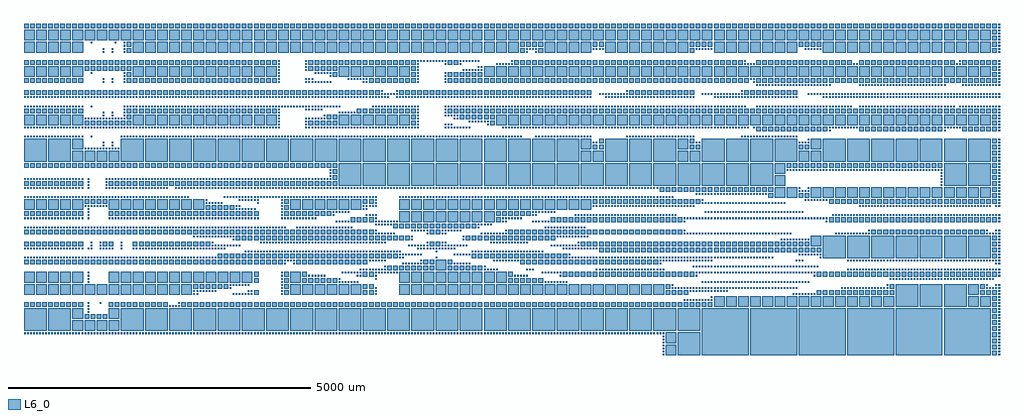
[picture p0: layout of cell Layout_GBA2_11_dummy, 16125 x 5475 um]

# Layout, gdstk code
import gdstk
lib = gdstk.Library(unit=1e-6, precision=1e-09)
def R(c, l, rs):  # rectangles x0, y0, x1, y1
    for r in rs: c.add(gdstk.rectangle(r[:2], r[2:], *l))
def A(c, l, x, y, w, h, nx, ny, dx, dy):  # array of equal rectangles
    R(c, l, [(x+i*dx, y+j*dy, x+i*dx+w, y+j*dy+h) for i in range(nx) for j in range(ny)])
L6_0 = (6, 0)

layout_gba2_11_dummy = lib.new_cell('Layout_GBA2_11_dummy')
A(layout_gba2_11_dummy, L6_0, 10550, 0, 25, 25, 1, 7, 0, 50)
A(layout_gba2_11_dummy, L6_0, 11200, 0, 775, 775, 6, 1, 800, 0)
A(layout_gba2_11_dummy, L6_0, 16000, 0, 75, 75, 1, 10, 0, 100)
A(layout_gba2_11_dummy, L6_0, 16100, 0, 25, 25, 1, 22, 0, 50)
A(layout_gba2_11_dummy, L6_0, 0, 350, 25, 25, 212, 1, 50, 0)
A(layout_gba2_11_dummy, L6_0, 800, 400, 175, 175, 4, 2, 200, 2800)
A(layout_gba2_11_dummy, L6_0, 1600, 400, 375, 375, 24, 1, 400, 0)
A(layout_gba2_11_dummy, L6_0, 1000, 600, 75, 75, 4, 2, 100, 1900)
A(layout_gba2_11_dummy, L6_0, 1050, 700, 25, 25, 1, 4, 0, 50)
A(layout_gba2_11_dummy, L6_0, 0, 800, 75, 75, 10, 2, 100, 1000)
A(layout_gba2_11_dummy, L6_0, 1400, 800, 75, 75, 10, 1, 100, 0)
A(layout_gba2_11_dummy, L6_0, 2400, 800, 25, 25, 4, 1, 50, 0)
A(layout_gba2_11_dummy, L6_0, 2600, 800, 75, 75, 88, 1, 100, 0)
A(layout_gba2_11_dummy, L6_0, 11400, 800, 175, 175, 15, 1, 200, 0)
A(layout_gba2_11_dummy, L6_0, 14400, 800, 375, 375, 3, 1, 400, 0)
A(layout_gba2_11_dummy, L6_0, 10900, 900, 25, 25, 10, 1, 50, 0)
A(layout_gba2_11_dummy, L6_0, 0, 1000, 175, 175, 14, 1, 200, 0)
A(layout_gba2_11_dummy, L6_0, 3450, 1000, 25, 25, 7, 1, 50, 0)
A(layout_gba2_11_dummy, L6_0, 4250, 1000, 25, 25, 1, 8, 0, 50)
A(layout_gba2_11_dummy, L6_0, 4300, 1000, 75, 75, 1, 4, 0, 100)
A(layout_gba2_11_dummy, L6_0, 4400, 1000, 175, 175, 6, 2, 200, 1400)
A(layout_gba2_11_dummy, L6_0, 5800, 1000, 25, 25, 1, 3, 0, 50)
A(layout_gba2_11_dummy, L6_0, 6200, 1000, 175, 175, 22, 1, 200, 0)
A(layout_gba2_11_dummy, L6_0, 10600, 1000, 75, 75, 4, 1, 100, 0)
A(layout_gba2_11_dummy, L6_0, 12700, 1000, 25, 25, 8, 1, 50, 0)
A(layout_gba2_11_dummy, L6_0, 13100, 1000, 75, 75, 13, 1, 100, 0)
A(layout_gba2_11_dummy, L6_0, 15800, 1000, 75, 75, 3, 1, 100, 0)
A(layout_gba2_11_dummy, L6_0, 2800, 1050, 25, 25, 8, 1, 50, 0)
A(layout_gba2_11_dummy, L6_0, 11000, 1050, 25, 25, 13, 1, 50, 0)
A(layout_gba2_11_dummy, L6_0, 2800, 1100, 75, 75, 6, 1, 100, 0)
A(layout_gba2_11_dummy, L6_0, 10700, 1100, 25, 25, 42, 1, 50, 0)
A(layout_gba2_11_dummy, L6_0, 13500, 1100, 25, 25, 16, 1, 50, 0)
A(layout_gba2_11_dummy, L6_0, 15900, 1100, 25, 25, 5, 2, 50, 900)
A(layout_gba2_11_dummy, L6_0, 3400, 1150, 25, 25, 7, 1, 50, 0)
A(layout_gba2_11_dummy, L6_0, 0, 1200, 175, 175, 5, 2, 200, 1200)
A(layout_gba2_11_dummy, L6_0, 1050, 1200, 25, 25, 1, 4, 0, 50)
A(layout_gba2_11_dummy, L6_0, 1400, 1200, 175, 175, 12, 1, 200, 0)
A(layout_gba2_11_dummy, L6_0, 4600, 1200, 75, 75, 6, 1, 100, 0)
A(layout_gba2_11_dummy, L6_0, 5200, 1200, 25, 25, 7, 1, 50, 0)
A(layout_gba2_11_dummy, L6_0, 6200, 1200, 175, 175, 9, 1, 200, 0)
A(layout_gba2_11_dummy, L6_0, 8000, 1200, 75, 75, 6, 1, 100, 0)
A(layout_gba2_11_dummy, L6_0, 8600, 1200, 25, 25, 8, 1, 50, 0)
A(layout_gba2_11_dummy, L6_0, 11200, 1200, 25, 25, 36, 1, 50, 0)
A(layout_gba2_11_dummy, L6_0, 14300, 1250, 25, 25, 35, 1, 50, 0)
A(layout_gba2_11_dummy, L6_0, 4700, 1300, 25, 25, 6, 1, 50, 0)
A(layout_gba2_11_dummy, L6_0, 8100, 1300, 25, 25, 5, 1, 50, 0)
A(layout_gba2_11_dummy, L6_0, 8900, 1300, 75, 75, 22, 1, 100, 0)
A(layout_gba2_11_dummy, L6_0, 13100, 1300, 75, 75, 30, 1, 100, 0)
A(layout_gba2_11_dummy, L6_0, 5250, 1350, 25, 25, 7, 1, 50, 0)
A(layout_gba2_11_dummy, L6_0, 5800, 1350, 25, 25, 8, 2, 50, 850)
A(layout_gba2_11_dummy, L6_0, 8550, 1350, 25, 25, 7, 1, 50, 0)
A(layout_gba2_11_dummy, L6_0, 11100, 1350, 25, 25, 40, 1, 50, 0)
A(layout_gba2_11_dummy, L6_0, 5550, 1400, 25, 25, 9, 1, 50, 0)
A(layout_gba2_11_dummy, L6_0, 6000, 1400, 75, 75, 8, 1, 100, 0)
A(layout_gba2_11_dummy, L6_0, 7000, 1400, 75, 75, 6, 2, 100, 3200)
A(layout_gba2_11_dummy, L6_0, 7600, 1400, 25, 25, 5, 1, 50, 0)
A(layout_gba2_11_dummy, L6_0, 8300, 1400, 25, 25, 3, 1, 50, 0)
A(layout_gba2_11_dummy, L6_0, 9450, 1400, 25, 25, 23, 1, 50, 0)
A(layout_gba2_11_dummy, L6_0, 13600, 1400, 25, 25, 51, 2, 50, 150)
A(layout_gba2_11_dummy, L6_0, 11050, 1450, 25, 25, 42, 1, 50, 0)
A(layout_gba2_11_dummy, L6_0, 0, 1500, 75, 75, 43, 1, 100, 0)
A(layout_gba2_11_dummy, L6_0, 4500, 1500, 75, 75, 12, 1, 100, 0)
A(layout_gba2_11_dummy, L6_0, 6250, 1500, 25, 25, 7, 1, 50, 0)
A(layout_gba2_11_dummy, L6_0, 7100, 1500, 25, 25, 6, 2, 50, 150)
A(layout_gba2_11_dummy, L6_0, 8200, 1500, 75, 75, 23, 1, 100, 0)
A(layout_gba2_11_dummy, L6_0, 4300, 1550, 25, 25, 4, 1, 50, 0)
A(layout_gba2_11_dummy, L6_0, 5700, 1550, 25, 25, 6, 1, 50, 0)
A(layout_gba2_11_dummy, L6_0, 7750, 1550, 25, 25, 9, 1, 50, 0)
A(layout_gba2_11_dummy, L6_0, 10500, 1550, 25, 25, 18, 1, 50, 0)
A(layout_gba2_11_dummy, L6_0, 12750, 1550, 25, 25, 3, 1, 50, 0)
A(layout_gba2_11_dummy, L6_0, 0, 1600, 25, 25, 64, 1, 50, 0)
A(layout_gba2_11_dummy, L6_0, 3200, 1600, 75, 75, 30, 1, 100, 0)
A(layout_gba2_11_dummy, L6_0, 7400, 1600, 75, 75, 16, 1, 100, 0)
A(layout_gba2_11_dummy, L6_0, 9000, 1600, 25, 25, 68, 1, 50, 0)
A(layout_gba2_11_dummy, L6_0, 13200, 1600, 375, 375, 7, 2, 400, 1600)
A(layout_gba2_11_dummy, L6_0, 16000, 1600, 75, 75, 1, 4, 0, 100)
A(layout_gba2_11_dummy, L6_0, 16100, 1600, 25, 25, 1, 8, 0, 50)
A(layout_gba2_11_dummy, L6_0, 6200, 1650, 25, 25, 8, 1, 50, 0)
A(layout_gba2_11_dummy, L6_0, 12800, 1650, 25, 25, 8, 1, 50, 0)
A(layout_gba2_11_dummy, L6_0, 3650, 1700, 25, 25, 52, 1, 50, 0)
A(layout_gba2_11_dummy, L6_0, 7400, 1700, 25, 25, 24, 1, 50, 0)
A(layout_gba2_11_dummy, L6_0, 9500, 1700, 75, 75, 37, 1, 100, 0)
A(layout_gba2_11_dummy, L6_0, 0, 1750, 25, 25, 20, 3, 50, 500)
A(layout_gba2_11_dummy, L6_0, 1100, 1750, 25, 25, 1, 3, 0, 50)
A(layout_gba2_11_dummy, L6_0, 1250, 1750, 25, 25, 5, 1, 50, 0)
A(layout_gba2_11_dummy, L6_0, 1600, 1750, 25, 25, 1, 3, 0, 50)
A(layout_gba2_11_dummy, L6_0, 1800, 1750, 25, 25, 31, 1, 50, 0)
A(layout_gba2_11_dummy, L6_0, 6500, 1750, 25, 25, 13, 1, 50, 0)
A(layout_gba2_11_dummy, L6_0, 8900, 1750, 25, 25, 12, 1, 50, 0)
A(layout_gba2_11_dummy, L6_0, 1800, 1800, 75, 75, 13, 1, 100, 0)
A(layout_gba2_11_dummy, L6_0, 3100, 1800, 25, 25, 10, 1, 50, 0)
A(layout_gba2_11_dummy, L6_0, 6350, 1800, 25, 25, 7, 1, 50, 0)
A(layout_gba2_11_dummy, L6_0, 6900, 1800, 25, 25, 9, 1, 50, 0)
A(layout_gba2_11_dummy, L6_0, 8700, 1800, 25, 25, 10, 1, 50, 0)
A(layout_gba2_11_dummy, L6_0, 9200, 1800, 75, 75, 38, 1, 100, 0)
A(layout_gba2_11_dummy, L6_0, 3900, 1850, 25, 25, 42, 1, 50, 0)
A(layout_gba2_11_dummy, L6_0, 7700, 1850, 25, 25, 13, 1, 50, 0)
A(layout_gba2_11_dummy, L6_0, 3500, 1900, 75, 75, 29, 1, 100, 0)
A(layout_gba2_11_dummy, L6_0, 7300, 1900, 75, 75, 15, 1, 100, 0)
A(layout_gba2_11_dummy, L6_0, 12500, 1900, 25, 25, 10, 1, 50, 0)
A(layout_gba2_11_dummy, L6_0, 2800, 1950, 25, 25, 14, 1, 50, 0)
A(layout_gba2_11_dummy, L6_0, 8800, 1950, 25, 25, 11, 1, 50, 0)
A(layout_gba2_11_dummy, L6_0, 0, 2000, 75, 75, 58, 1, 100, 0)
A(layout_gba2_11_dummy, L6_0, 5800, 2000, 25, 25, 7, 1, 50, 0)
A(layout_gba2_11_dummy, L6_0, 7550, 2000, 25, 25, 9, 1, 50, 0)
A(layout_gba2_11_dummy, L6_0, 8000, 2000, 75, 75, 29, 1, 100, 0)
A(layout_gba2_11_dummy, L6_0, 10900, 2000, 25, 25, 36, 1, 50, 0)
A(layout_gba2_11_dummy, L6_0, 13400, 2000, 25, 25, 12, 1, 50, 0)
A(layout_gba2_11_dummy, L6_0, 14000, 2000, 75, 75, 19, 1, 100, 0)
A(layout_gba2_11_dummy, L6_0, 6400, 2050, 25, 25, 6, 1, 50, 0)
A(layout_gba2_11_dummy, L6_0, 6900, 2050, 25, 25, 7, 1, 50, 0)
A(layout_gba2_11_dummy, L6_0, 0, 2100, 25, 25, 87, 1, 50, 0)
A(layout_gba2_11_dummy, L6_0, 4500, 2100, 25, 25, 19, 1, 50, 0)
A(layout_gba2_11_dummy, L6_0, 6100, 2100, 75, 75, 14, 1, 100, 0)
A(layout_gba2_11_dummy, L6_0, 8600, 2100, 25, 25, 14, 1, 50, 0)
A(layout_gba2_11_dummy, L6_0, 5800, 2150, 25, 25, 6, 1, 50, 0)
A(layout_gba2_11_dummy, L6_0, 7500, 2150, 25, 25, 5, 1, 50, 0)
A(layout_gba2_11_dummy, L6_0, 5150, 2200, 25, 25, 5, 1, 50, 0)
A(layout_gba2_11_dummy, L6_0, 5400, 2200, 75, 75, 4, 1, 100, 0)
A(layout_gba2_11_dummy, L6_0, 6200, 2200, 175, 175, 8, 1, 200, 0)
A(layout_gba2_11_dummy, L6_0, 8400, 2200, 25, 25, 6, 1, 50, 0)
A(layout_gba2_11_dummy, L6_0, 8700, 2200, 75, 75, 22, 1, 100, 0)
A(layout_gba2_11_dummy, L6_0, 13300, 2200, 75, 75, 28, 2, 100, 300)
A(layout_gba2_11_dummy, L6_0, 1050, 2250, 25, 25, 1, 4, 0, 50)
A(layout_gba2_11_dummy, L6_0, 1400, 2250, 25, 25, 50, 1, 50, 0)
A(layout_gba2_11_dummy, L6_0, 4250, 2250, 25, 25, 12, 1, 50, 0)
A(layout_gba2_11_dummy, L6_0, 7900, 2250, 25, 25, 7, 1, 50, 0)
A(layout_gba2_11_dummy, L6_0, 10900, 2250, 25, 25, 48, 1, 50, 0)
A(layout_gba2_11_dummy, L6_0, 0, 2300, 75, 75, 10, 2, 100, 500)
A(layout_gba2_11_dummy, L6_0, 1400, 2300, 75, 75, 25, 1, 100, 0)
A(layout_gba2_11_dummy, L6_0, 4250, 2300, 25, 25, 1, 6, 0, 50)
A(layout_gba2_11_dummy, L6_0, 4300, 2300, 75, 75, 8, 1, 100, 0)
A(layout_gba2_11_dummy, L6_0, 5650, 2300, 25, 25, 4, 1, 50, 0)
A(layout_gba2_11_dummy, L6_0, 7800, 2300, 75, 75, 6, 1, 100, 0)
A(layout_gba2_11_dummy, L6_0, 9100, 2300, 25, 25, 34, 1, 50, 0)
A(layout_gba2_11_dummy, L6_0, 13350, 2300, 25, 25, 56, 1, 50, 0)
A(layout_gba2_11_dummy, L6_0, 5100, 2350, 25, 25, 6, 1, 50, 0)
A(layout_gba2_11_dummy, L6_0, 8400, 2350, 25, 25, 8, 1, 50, 0)
A(layout_gba2_11_dummy, L6_0, 11250, 2350, 25, 25, 33, 1, 50, 0)
A(layout_gba2_11_dummy, L6_0, 1400, 2400, 175, 175, 8, 1, 200, 0)
A(layout_gba2_11_dummy, L6_0, 3000, 2400, 75, 75, 5, 1, 100, 0)
A(layout_gba2_11_dummy, L6_0, 3500, 2400, 25, 25, 7, 1, 50, 0)
A(layout_gba2_11_dummy, L6_0, 6200, 2400, 175, 175, 16, 1, 200, 0)
A(layout_gba2_11_dummy, L6_0, 1000, 2450, 25, 25, 8, 1, 50, 0)
A(layout_gba2_11_dummy, L6_0, 5600, 2450, 25, 25, 5, 1, 50, 0)
A(layout_gba2_11_dummy, L6_0, 9400, 2450, 25, 25, 34, 1, 50, 0)
A(layout_gba2_11_dummy, L6_0, 13800, 2450, 25, 25, 44, 1, 50, 0)
A(layout_gba2_11_dummy, L6_0, 16100, 2450, 25, 25, 1, 23, 0, 50)
A(layout_gba2_11_dummy, L6_0, 3000, 2500, 25, 25, 6, 1, 50, 0)
A(layout_gba2_11_dummy, L6_0, 9400, 2500, 75, 75, 18, 1, 100, 0)
A(layout_gba2_11_dummy, L6_0, 11200, 2500, 25, 25, 28, 1, 50, 0)
A(layout_gba2_11_dummy, L6_0, 3550, 2550, 25, 25, 7, 1, 50, 0)
A(layout_gba2_11_dummy, L6_0, 12900, 2550, 25, 25, 8, 1, 50, 0)
A(layout_gba2_11_dummy, L6_0, 0, 2600, 25, 25, 55, 1, 50, 0)
A(layout_gba2_11_dummy, L6_0, 3300, 2600, 25, 25, 51, 1, 50, 0)
A(layout_gba2_11_dummy, L6_0, 6200, 2600, 25, 25, 91, 1, 50, 0)
A(layout_gba2_11_dummy, L6_0, 12400, 2600, 175, 175, 1, 3, 0, 200)
A(layout_gba2_11_dummy, L6_0, 13000, 2600, 175, 175, 15, 1, 200, 0)
A(layout_gba2_11_dummy, L6_0, 16000, 2600, 75, 75, 1, 10, 0, 100)
A(layout_gba2_11_dummy, L6_0, 11100, 2650, 25, 25, 24, 1, 50, 0)
A(layout_gba2_11_dummy, L6_0, 10500, 2700, 75, 75, 19, 1, 100, 0)
A(layout_gba2_11_dummy, L6_0, 12800, 2700, 25, 25, 4, 2, 50, 800)
A(layout_gba2_11_dummy, L6_0, 1050, 2750, 25, 25, 1, 4, 0, 50)
A(layout_gba2_11_dummy, L6_0, 1350, 2750, 25, 25, 21, 1, 50, 0)
A(layout_gba2_11_dummy, L6_0, 2500, 2750, 25, 25, 160, 1, 50, 0)
A(layout_gba2_11_dummy, L6_0, 1400, 2800, 75, 75, 38, 1, 100, 0)
A(layout_gba2_11_dummy, L6_0, 5200, 2800, 375, 375, 18, 1, 400, 0)
A(layout_gba2_11_dummy, L6_0, 15150, 2800, 25, 25, 1, 5, 0, 50)
A(layout_gba2_11_dummy, L6_0, 0, 2900, 25, 25, 20, 2, 50, 700)
A(layout_gba2_11_dummy, L6_0, 1350, 2900, 25, 25, 75, 1, 50, 0)
A(layout_gba2_11_dummy, L6_0, 5050, 2950, 25, 25, 1, 3, 0, 50)
A(layout_gba2_11_dummy, L6_0, 12600, 3050, 25, 25, 52, 1, 50, 0)
A(layout_gba2_11_dummy, L6_0, 0, 3100, 75, 75, 52, 1, 100, 0)
A(layout_gba2_11_dummy, L6_0, 12600, 3100, 75, 75, 26, 1, 100, 0)
A(layout_gba2_11_dummy, L6_0, 1600, 3200, 375, 375, 19, 1, 400, 0)
A(layout_gba2_11_dummy, L6_0, 9600, 3200, 375, 375, 3, 1, 400, 0)
A(layout_gba2_11_dummy, L6_0, 11200, 3200, 375, 375, 4, 1, 400, 0)
A(layout_gba2_11_dummy, L6_0, 1000, 3400, 25, 25, 12, 1, 50, 0)
A(layout_gba2_11_dummy, L6_0, 1600, 3600, 25, 25, 133, 1, 50, 0)
A(layout_gba2_11_dummy, L6_0, 8450, 3600, 25, 25, 19, 1, 50, 0)
A(layout_gba2_11_dummy, L6_0, 9950, 3600, 25, 25, 23, 1, 50, 0)
A(layout_gba2_11_dummy, L6_0, 11850, 3600, 25, 25, 19, 1, 50, 0)
A(layout_gba2_11_dummy, L6_0, 12100, 3700, 75, 75, 12, 1, 100, 0)
A(layout_gba2_11_dummy, L6_0, 13800, 3700, 75, 75, 14, 1, 100, 0)
A(layout_gba2_11_dummy, L6_0, 15500, 3700, 75, 75, 6, 2, 100, 1100)
A(layout_gba2_11_dummy, L6_0, 16100, 3700, 25, 25, 1, 8, 0, 50)
A(layout_gba2_11_dummy, L6_0, 0, 3750, 25, 25, 85, 1, 50, 0)
A(layout_gba2_11_dummy, L6_0, 4650, 3750, 25, 25, 38, 1, 50, 0)
A(layout_gba2_11_dummy, L6_0, 6950, 3750, 25, 25, 9, 1, 50, 0)
A(layout_gba2_11_dummy, L6_0, 7900, 3750, 25, 25, 82, 1, 50, 0)
A(layout_gba2_11_dummy, L6_0, 13300, 3750, 25, 25, 10, 1, 50, 0)
A(layout_gba2_11_dummy, L6_0, 15200, 3750, 25, 25, 6, 1, 50, 0)
A(layout_gba2_11_dummy, L6_0, 0, 3800, 175, 175, 5, 2, 200, 800)
A(layout_gba2_11_dummy, L6_0, 1000, 3800, 75, 75, 8, 2, 100, 900)
A(layout_gba2_11_dummy, L6_0, 1800, 3800, 175, 175, 12, 2, 200, 800)
A(layout_gba2_11_dummy, L6_0, 4200, 3800, 25, 25, 1, 6, 0, 50)
A(layout_gba2_11_dummy, L6_0, 4700, 3800, 75, 75, 5, 2, 100, 900)
A(layout_gba2_11_dummy, L6_0, 5200, 3800, 175, 175, 6, 2, 200, 800)
A(layout_gba2_11_dummy, L6_0, 6500, 3800, 25, 25, 1, 6, 0, 50)
A(layout_gba2_11_dummy, L6_0, 6950, 3800, 25, 25, 3, 1, 50, 0)
A(layout_gba2_11_dummy, L6_0, 7800, 3800, 175, 175, 41, 1, 200, 0)
A(layout_gba2_11_dummy, L6_0, 7350, 3850, 25, 25, 7, 1, 50, 0)
A(layout_gba2_11_dummy, L6_0, 1000, 3900, 25, 25, 14, 1, 50, 0)
A(layout_gba2_11_dummy, L6_0, 4650, 3900, 25, 25, 7, 1, 50, 0)
A(layout_gba2_11_dummy, L6_0, 7200, 3900, 75, 75, 6, 1, 100, 0)
A(layout_gba2_11_dummy, L6_0, 1650, 3950, 25, 25, 1, 3, 0, 50)
A(layout_gba2_11_dummy, L6_0, 6950, 3950, 25, 25, 5, 1, 50, 0)
A(layout_gba2_11_dummy, L6_0, 0, 4000, 75, 75, 10, 2, 100, 500)
A(layout_gba2_11_dummy, L6_0, 1700, 4000, 75, 75, 25, 2, 100, 500)
A(layout_gba2_11_dummy, L6_0, 5200, 4000, 25, 25, 6, 1, 50, 0)
A(layout_gba2_11_dummy, L6_0, 5500, 4000, 75, 75, 10, 1, 100, 0)
A(layout_gba2_11_dummy, L6_0, 7000, 4000, 75, 75, 91, 1, 100, 0)
A(layout_gba2_11_dummy, L6_0, 4650, 4050, 25, 25, 6, 1, 50, 0)
A(layout_gba2_11_dummy, L6_0, 0, 4100, 25, 25, 20, 1, 50, 0)
A(layout_gba2_11_dummy, L6_0, 1650, 4100, 25, 25, 72, 1, 50, 0)
A(layout_gba2_11_dummy, L6_0, 5750, 4100, 25, 25, 16, 1, 50, 0)
A(layout_gba2_11_dummy, L6_0, 6950, 4100, 25, 25, 100, 1, 50, 0)
A(layout_gba2_11_dummy, L6_0, 12100, 4100, 25, 25, 32, 1, 50, 0)
A(layout_gba2_11_dummy, L6_0, 13800, 4100, 25, 25, 32, 1, 50, 0)
A(layout_gba2_11_dummy, L6_0, 15450, 4100, 25, 25, 14, 1, 50, 0)
A(layout_gba2_11_dummy, L6_0, 0, 4250, 25, 25, 121, 1, 50, 0)
A(layout_gba2_11_dummy, L6_0, 6150, 4250, 25, 25, 65, 1, 50, 0)
A(layout_gba2_11_dummy, L6_0, 9600, 4250, 25, 25, 30, 1, 50, 0)
A(layout_gba2_11_dummy, L6_0, 11400, 4250, 25, 25, 28, 1, 50, 0)
A(layout_gba2_11_dummy, L6_0, 13200, 4250, 25, 25, 59, 1, 50, 0)
A(layout_gba2_11_dummy, L6_0, 0, 4300, 75, 75, 59, 1, 100, 0)
A(layout_gba2_11_dummy, L6_0, 5900, 4300, 25, 25, 6, 1, 50, 0)
A(layout_gba2_11_dummy, L6_0, 6200, 4300, 75, 75, 32, 1, 100, 0)
A(layout_gba2_11_dummy, L6_0, 9500, 4300, 25, 25, 10, 1, 50, 0)
A(layout_gba2_11_dummy, L6_0, 10000, 4300, 75, 75, 11, 1, 100, 0)
A(layout_gba2_11_dummy, L6_0, 11200, 4300, 25, 25, 14, 1, 50, 0)
A(layout_gba2_11_dummy, L6_0, 11900, 4300, 75, 75, 9, 1, 100, 0)
A(layout_gba2_11_dummy, L6_0, 12950, 4300, 25, 25, 64, 1, 50, 0)
A(layout_gba2_11_dummy, L6_0, 12100, 4450, 25, 25, 25, 1, 50, 0)
A(layout_gba2_11_dummy, L6_0, 13800, 4450, 25, 25, 29, 1, 50, 0)
A(layout_gba2_11_dummy, L6_0, 15500, 4450, 25, 25, 13, 1, 50, 0)
A(layout_gba2_11_dummy, L6_0, 1650, 4500, 25, 25, 1, 4, 0, 50)
A(layout_gba2_11_dummy, L6_0, 4200, 4500, 25, 25, 1, 8, 0, 50)
A(layout_gba2_11_dummy, L6_0, 4650, 4500, 25, 25, 9, 1, 50, 0)
A(layout_gba2_11_dummy, L6_0, 5700, 4500, 75, 75, 8, 1, 100, 0)
A(layout_gba2_11_dummy, L6_0, 6500, 4500, 25, 25, 1, 7, 0, 50)
A(layout_gba2_11_dummy, L6_0, 6950, 4500, 25, 25, 1, 4, 0, 50)
A(layout_gba2_11_dummy, L6_0, 7000, 4500, 75, 75, 50, 1, 100, 0)
A(layout_gba2_11_dummy, L6_0, 12100, 4500, 75, 75, 40, 1, 100, 0)
A(layout_gba2_11_dummy, L6_0, 16100, 4500, 25, 25, 1, 8, 0, 50)
A(layout_gba2_11_dummy, L6_0, 4650, 4550, 25, 25, 3, 1, 50, 0)
A(layout_gba2_11_dummy, L6_0, 5350, 4550, 25, 25, 7, 1, 50, 0)
A(layout_gba2_11_dummy, L6_0, 7600, 4600, 175, 175, 42, 1, 200, 0)
A(layout_gba2_11_dummy, L6_0, 4800, 4650, 25, 25, 6, 1, 50, 0)
A(layout_gba2_11_dummy, L6_0, 4650, 4700, 25, 25, 1, 4, 0, 50)
A(layout_gba2_11_dummy, L6_0, 7250, 4700, 25, 25, 7, 1, 50, 0)
A(layout_gba2_11_dummy, L6_0, 0, 4800, 75, 75, 42, 1, 100, 0)
A(layout_gba2_11_dummy, L6_0, 4700, 4800, 75, 75, 18, 1, 100, 0)
A(layout_gba2_11_dummy, L6_0, 7800, 4800, 25, 25, 6, 1, 50, 0)
A(layout_gba2_11_dummy, L6_0, 8100, 4800, 75, 75, 38, 1, 100, 0)
A(layout_gba2_11_dummy, L6_0, 11900, 4800, 25, 25, 4, 1, 50, 0)
A(layout_gba2_11_dummy, L6_0, 12100, 4800, 75, 75, 16, 1, 100, 0)
A(layout_gba2_11_dummy, L6_0, 13800, 4800, 75, 75, 16, 1, 100, 0)
A(layout_gba2_11_dummy, L6_0, 6500, 4850, 25, 25, 10, 1, 50, 0)
A(layout_gba2_11_dummy, L6_0, 7200, 4850, 25, 25, 7, 1, 50, 0)
A(layout_gba2_11_dummy, L6_0, 0, 5000, 175, 175, 5, 1, 200, 0)
A(layout_gba2_11_dummy, L6_0, 1650, 5000, 25, 25, 1, 4, 0, 50)
A(layout_gba2_11_dummy, L6_0, 1800, 5000, 175, 175, 32, 1, 200, 0)
A(layout_gba2_11_dummy, L6_0, 8600, 5000, 175, 175, 4, 1, 200, 0)
A(layout_gba2_11_dummy, L6_0, 9600, 5000, 175, 175, 7, 1, 200, 0)
A(layout_gba2_11_dummy, L6_0, 11400, 5000, 175, 175, 7, 1, 200, 0)
A(layout_gba2_11_dummy, L6_0, 13200, 5000, 175, 175, 14, 1, 200, 0)
A(layout_gba2_11_dummy, L6_0, 16000, 5000, 75, 75, 1, 4, 0, 100)
A(layout_gba2_11_dummy, L6_0, 16100, 5000, 25, 25, 1, 10, 0, 50)
A(layout_gba2_11_dummy, L6_0, 8300, 5050, 25, 25, 4, 1, 50, 0)
A(layout_gba2_11_dummy, L6_0, 9400, 5050, 25, 25, 4, 1, 50, 0)
A(layout_gba2_11_dummy, L6_0, 11100, 5050, 25, 25, 6, 1, 50, 0)
A(layout_gba2_11_dummy, L6_0, 12900, 5050, 25, 25, 6, 1, 50, 0)
A(layout_gba2_11_dummy, L6_0, 8200, 5100, 75, 75, 4, 1, 100, 0)
A(layout_gba2_11_dummy, L6_0, 11000, 5100, 75, 75, 4, 1, 100, 0)
A(layout_gba2_11_dummy, L6_0, 12800, 5100, 75, 75, 4, 1, 100, 0)
A(layout_gba2_11_dummy, L6_0, 0, 5200, 175, 175, 80, 1, 200, 0)
A(layout_gba2_11_dummy, L6_0, 0, 5400, 75, 75, 161, 1, 100, 0)
R(layout_gba2_11_dummy, L6_0, [(10600,0,10775,175), (10800,0,11175,375), (10600,200,10775,375), (0,400,375,775), (400,400,775,775), (800,600,975,775), (1400,600,1575,775), (15600,800,15775,975), (15800,800,15975,975), (1250,850,1275,875), (2550,850,2575,875), (11350,950,11375,975), (2800,1000,2825,1025), (2850,1000,2875,1025), (3800,1000,3875,1075), (5600,1000,5675,1075), (5700,1000,5775,1075), (15600,1000,15775,1175), (3700,1050,3725,1075), (3750,1050,3775,1075), (3400,1100,3425,1125), (5600,1100,5675,1175), (5700,1100,5775,1175), (10600,1100,10675,1175), (14300,1100,14375,1175), (15800,1100,15875,1175), (10700,1150,10725,1175), (14250,1150,14275,1175), (15900,1150,15925,1175), (16050,1150,16075,1175), (16100,1150,16125,1175), (3800,1200,3875,1275), (4400,1200,4575,1375), (5200,1250,5225,1275), (5800,1250,5825,1275), (3800,1300,3875,1375), (4600,1300,4675,1375), (5500,1300,5525,1325), (5550,1300,5575,1325), (5600,1300,5675,1375), (5700,1300,5775,1375), (5800,1300,5825,1325), (8000,1300,8075,1375), (8850,1300,8875,1325), (11100,1300,11125,1325), (13050,1300,13075,1325), (16100,1300,16125,1325), (16100,1350,16125,1375), (6800,1400,6975,1575), (5950,1450,5975,1475), (7600,1450,7625,1475), (4300,1500,4325,1525), (4450,1500,4475,1525), (6600,1500,6675,1575), (6700,1500,6775,1575), (7000,1500,7075,1575), (10500,1500,10525,1525), (16050,1500,16075,1525), (16100,1500,16125,1525), (6550,1550,6575,1575), (6200,1600,6225,1625), (6250,1600,6275,1625), (6800,1600,6825,1625), (13150,1600,13175,1625), (9000,1650,9025,1675), (6800,1700,6825,1725), (1050,1750,1075,1775), (1250,1800,1275,1825), (1300,1800,1375,1875), (1400,1800,1475,1875), (6700,1800,6775,1875), (6800,1800,6875,1875), (13000,1800,13175,1975), (1250,1850,1275,1875), (3100,1850,3125,1875), (6650,1850,6675,1875), (6900,1850,6925,1875), (6950,1850,6975,1875), (9150,1850,9175,1875), (3450,1900,3475,1925), (6400,1900,6425,1925), (7250,1900,7275,1925), (6400,1950,6425,1975), (7250,1950,7275,1975), (6650,2000,6675,2025), (6700,2000,6775,2075), (6800,2000,6875,2075), (6900,2000,6925,2025), (6950,2000,6975,2025), (5800,2050,5825,2075), (7950,2050,7975,2075), (10900,2050,10925,2075), (13950,2050,13975,2075), (15900,2050,15925,2075), (16050,2050,16075,2075), (16100,2050,16125,2075), (7500,2100,7525,2125), (7800,2200,7875,2275), (7900,2200,7925,2225), (7950,2200,7975,2225), (10900,2200,10925,2225), (13250,2200,13275,2225), (16100,2200,16125,2225), (5800,2250,5825,2275), (16100,2250,16125,2275), (5100,2300,5125,2325), (8400,2300,8425,2325), (8450,2300,8475,2325), (4300,2400,4375,2475), (5600,2400,5625,2425), (5650,2400,5675,2425), (3500,2450,3525,2475), (3550,2450,3575,2475), (16050,2450,16075,2475), (3850,2500,3875,2525), (4300,2500,4375,2575), (5600,2500,5675,2575), (5700,2500,5775,2575), (5800,2500,5825,2525), (3000,2550,3025,2575), (5800,2550,5825,2575), (11200,2550,11225,2575), (12300,2600,12375,2675), (12600,2600,12775,2775), (12800,2600,12875,2675), (12900,2600,12975,2675), (12800,2750,12825,2775), (12950,2750,12975,2775), (1350,2800,1375,2825), (15200,2800,15575,3175), (15600,2800,15975,3175), (1350,2850,1375,2875), (5100,2900,5175,2975), (5100,3000,5175,3075), (0,3200,375,3575), (400,3200,775,3575), (9200,3200,9375,3375), (9400,3200,9575,3375), (10800,3200,10975,3375), (11000,3200,11175,3375), (12800,3200,12975,3375), (13000,3200,13175,3375), (800,3400,975,3575), (9200,3400,9375,3575), (9400,3400,9475,3475), (9500,3400,9575,3475), (10800,3400,10975,3575), (11000,3400,11075,3475), (11100,3400,11175,3475), (12800,3400,12875,3475), (12900,3400,12975,3475), (13000,3400,13175,3575), (1300,3450,1325,3475), (1450,3450,1475,3475), (1300,3500,1325,3525), (1450,3500,1475,3525), (9400,3500,9425,3525), (9450,3500,9475,3525), (9500,3500,9575,3575), (11000,3500,11075,3575), (11100,3500,11125,3525), (11150,3500,11175,3525), (12950,3550,12975,3575), (1100,3600,1125,3625), (13300,3700,13325,3725), (15200,3700,15225,3725), (12050,3750,12075,3775), (4650,3800,4675,3825), (6400,3800,6475,3875), (7650,3800,7675,3825), (7700,3800,7775,3875), (16000,3800,16075,3875), (4650,3850,4675,3875), (1700,3900,1775,3975), (5000,3900,5075,3975), (5100,3900,5175,3975), (6400,3900,6475,3975), (7100,3900,7125,3925), (7150,3900,7175,3925), (16000,3900,16075,3975), (1300,3950,1325,3975), (1450,3950,1475,3975), (4950,3950,4975,3975), (1300,4000,1325,4025), (1450,4000,1475,4025), (6950,4000,6975,4025), (6950,4050,6975,4075), (1100,4100,1125,4125), (5900,4350,5925,4375), (6150,4350,6175,4375), (9950,4350,9975,4375), (11850,4350,11875,4375), (1300,4500,1325,4525), (1450,4500,1475,4525), (5600,4500,5625,4525), (5650,4500,5675,4525), (12050,4500,12075,4525), (1300,4550,1325,4575), (1450,4550,1475,4575), (12000,4550,12025,4575), (12050,4550,12075,4575), (1700,4600,1775,4675), (5050,4600,5075,4625), (5100,4600,5175,4675), (6400,4600,6475,4675), (16000,4600,16075,4675), (1100,4650,1125,4675), (6400,4700,6475,4775), (16000,4700,16075,4775), (7500,4750,7525,4775), (7550,4750,7575,4775), (6950,4800,6975,4825), (7000,4800,7075,4875), (7100,4800,7175,4875), (7200,4800,7225,4825), (13700,4800,13725,4825), (13750,4800,13775,4825), (15400,4800,15425,4825), (15450,4800,15475,4825), (8050,4850,8075,4875), (11900,4850,11925,4875), (15450,4850,15475,4875), (1300,5000,1325,5025), (1450,5000,1475,5025), (1700,5000,1775,5075), (8200,5000,8275,5075), (8300,5000,8325,5025), (8450,5000,8475,5025), (8500,5000,8575,5075), (11000,5000,11075,5075), (1300,5050,1325,5075), (1450,5050,1475,5075), (1700,5100,1775,5175), (9400,5100,9475,5175), (9500,5100,9575,5175), (1100,5150,1125,5175), (1500,5150,1525,5175)])

lib.write_gds('Layout_GBA2_11_dummy.gds')
